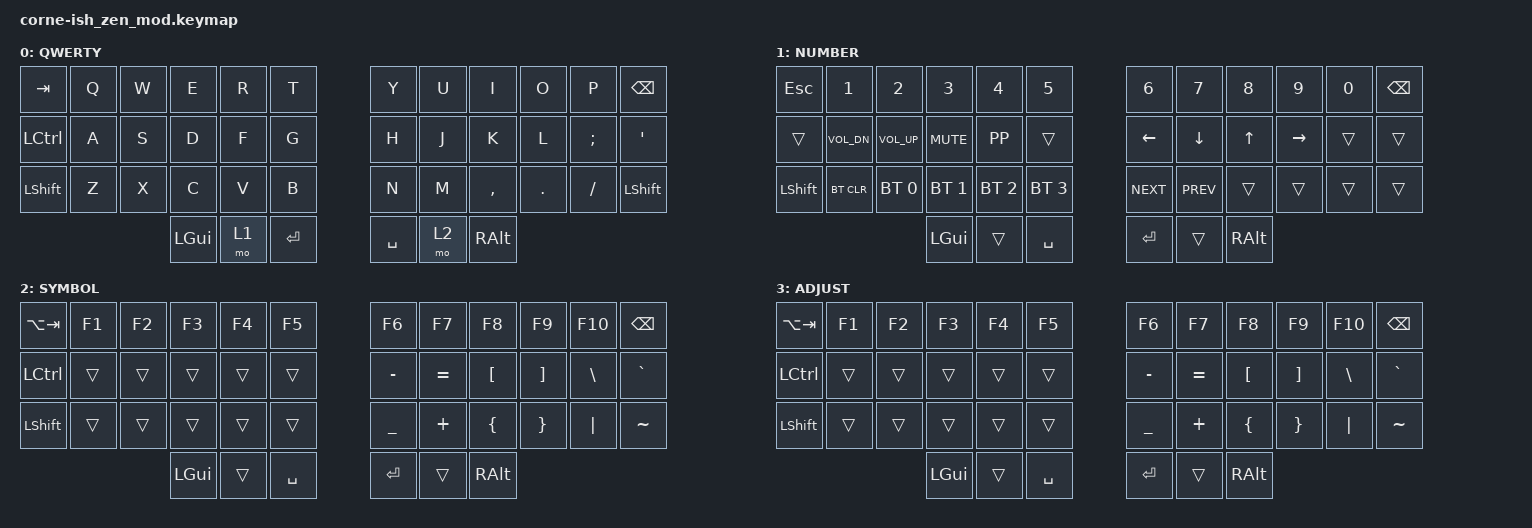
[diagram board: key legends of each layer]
/*
*
* Copyright (c) 2021 Darryl deHaan
* SPDX-License-Identifier: MIT
*
*/

#include <behaviors.dtsi>
#include <dt-bindings/zmk/keys.h>
#include <dt-bindings/zmk/bt.h>

/ {
        keymap {
                compatible = "zmk,keymap";

                default_layer {
                        label = "QWERTY";
// -----------------------------------------------------------------------------------------
// |  TAB |  Q  |  W  |  E  |  R  |  T  |   |  Y  |  U   |  I  |  O  |  P  | BKSP |
// | CTRL |  A  |  S  |  D  |  F  |  G  |   |  H  |  J   |  K  |  L  |  ;  |  '   |
// | SHFT |  Z  |  X  |  C  |  V  |  B  |   |  N  |  M   |  ,  |  .  |  /  | SHFT |
//                    | GUI | LWR | SPC |   | ENT | RSE  | ALT |
                        bindings = <
   &kp TAB   &kp Q &kp W &kp E &kp R &kp T   &kp Y &kp U  &kp I     &kp O   &kp P    &kp BSPC
   &kp LCTRL &kp A &kp S &kp D &kp F &kp G   &kp H &kp J  &kp K     &kp L   &kp SEMI &kp SQT
   &kp LSHFT &kp Z &kp X &kp C &kp V &kp B   &kp N &kp M  &kp COMMA &kp DOT &kp FSLH &kp LSHFT 
                  &kp LGUI &mo 1 &kp RET	 &kp SPACE &mo 2 &kp RALT
                        >;
                };
                lower_layer {
                        label = "NUMBER";
// -----------------------------------------------------------------------------------------
// | ESC  |  1  |  2  |  3  |  4  |  5  |   |  6  |  7  |  8  |  9  |  0  | BKSP |
// |      | VOL-| VOL+| MUTE| PL/P|     |   | LFT | DWN |  UP | RGT |     |      |
// | SHFT |BTCLR| BT1 | BT2 | BT3 | BT4 |   | NXT | PRV |     |     |     |      |
//                    | GUI |     | SPC |   | ENT |     | ALT |
                        bindings = <
   &kp ESC     &kp N1       &kp N2       &kp N3       &kp N4       &kp N5         &kp N6     &kp N7     &kp N8 &kp N9    &kp N0 &kp BSPC
   &trans      &kp K_VOL_DN &kp K_VOL_UP &kp K_MUTE	  &kp K_PP	   &trans         &kp LEFT   &kp DOWN   &kp UP &kp RIGHT &trans &trans
   &kp LSHFT   &bt BT_CLR   &bt BT_SEL 0 &bt BT_SEL 1 &bt BT_SEL 2 &bt BT_SEL 3   &kp K_NEXT &kp K_PREV &trans &trans    &trans &trans
                          	      	     &kp LGUI     &trans       &kp SPACE      &kp RET    &trans     &kp RALT
                        >;
                };

                raise_layer {
                        label = "SYMBOL";
// -----------------------------------------------------------------------------------------
// | ATAB |  F1 |  F2 |  F3 |  F4 |  F5 |   |  F6 |  F7 |  F8 |  F9 |  F10| BKSP |
// | CTRL |     |  	  |     |     |     |   |  -  |  =  |  [  |  ]  |  \  |  `   |
// | SHFT |     |  	  |     |     |     |   |  _  |  +  |  {  |  }  | "|" |  ~   |
//                    | GUI |     | SPC |   | ENT |     | ALT |
                        bindings = <
   &kp LA(TAB)  &kp F1   &kp F2 &kp F3   &kp F4   &kp F5    &kp F6     &kp F7   &kp F8    &kp F9   &kp F10  &kp BSPC
   &kp LCTRL &trans   &trans &trans   &trans   &trans    &kp MINUS &kp EQUAL &kp LBKT  &kp RBKT &kp BSLH &kp GRAVE
   &kp LSHFT &trans   &trans &trans   &trans   &trans    &kp UNDER &kp PLUS  &kp LBRC  &kp RBRC &kp PIPE &kp TILDE
                    	     &kp LGUI &trans   &kp SPACE &kp RET   &trans    &kp RALT
                        >;
                };

                adjst_layer {
                        label = "ADJUST";
// -----------------------------------------------------------------------------------------
// | ATAB |  F1 |  F2 |  F3 |  F4 |  F5 |   |  F6 |  F7 |  F8 |  F9 |  F10| BKSP |
// | CTRL |     |  	  |     |     |     |   |  -  |  =  |  [  |  ]  |  \  |  `   |
// | SHFT |     |  	  |     |     |     |   |  _  |  +  |  {  |  }  | "|" |  ~   |
//                    | GUI |     | SPC |   | ENT |     | ALT |
                        bindings = <
   &kp LA(TAB)  &kp F1   &kp F2 &kp F3   &kp F4   &kp F5    &kp F6     &kp F7   &kp F8    &kp F9   &kp F10  &kp BSPC
   &kp LCTRL &trans   &trans &trans   &trans   &trans    &kp MINUS &kp EQUAL &kp LBKT  &kp RBKT &kp BSLH &kp GRAVE
   &kp LSHFT &trans   &trans &trans   &trans   &trans    &kp UNDER &kp PLUS  &kp LBRC  &kp RBRC &kp PIPE &kp TILDE
                    	     &kp LGUI &trans   &kp SPACE &kp RET   &trans    &kp RALT
                        >;
                };

					
        };
};
